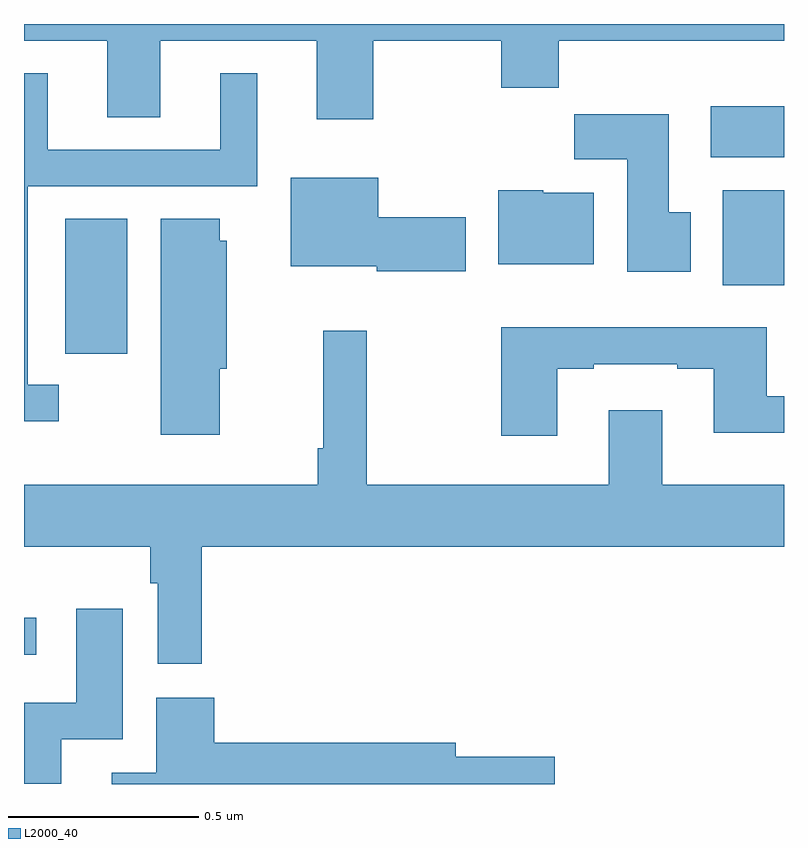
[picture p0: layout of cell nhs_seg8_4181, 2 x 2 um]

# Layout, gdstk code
import gdstk
lib = gdstk.Library(unit=1e-6, precision=1e-09)
def R(c, l, rs):  # rectangles x0, y0, x1, y1
    for r in rs: c.add(gdstk.rectangle(r[:2], r[2:], *l))
def P(c, l, *ps):  # polygons
    for p in ps: c.add(gdstk.Polygon(p, *l))
L2000_40 = (2000, 40)

nhs_seg8_4181 = lib.new_cell('nhs_seg8_4181')
R(nhs_seg8_4181, L2000_40, [(167,1092.24,167.032,1092.338), (167.108,1093.032,167.272,1093.388), (168.839,1093.212,169,1093.462), (168.807,1093.55,169,1093.684)])
P(nhs_seg8_4181, L2000_40, [(167.919,1093.856),(168.256,1093.856),(168.256,1093.732),(168.407,1093.732),(168.407,1093.856),(169,1093.856),(169,1093.9),(167,1093.9),(167,1093.856),(167.219,1093.856),(167.219,1093.654),(167.359,1093.654),(167.359,1093.856),(167.771,1093.856),(167.771,1093.65),(167.919,1093.65)],
  [(167.092,1092.951),(167.01,1092.951),(167.01,1093.473),(167.614,1093.473),(167.614,1093.771),(167.516,1093.771),(167.516,1093.569),(167.062,1093.569),(167.062,1093.771),(167,1093.771),(167,1092.854),(167.092,1092.854)],
  [(168.754,1093.404),(168.697,1093.404),(168.697,1093.663),(168.448,1093.663),(168.448,1093.544),(168.587,1093.544),(168.587,1093.248),(168.754,1093.248)],
  [(168.163,1093.392),(167.932,1093.392),(167.932,1093.495),(167.702,1093.495),(167.702,1093.262),(167.928,1093.262),(167.928,1093.25),(168.163,1093.25)],
  [(168.499,1093.456),(168.366,1093.456),(168.366,1093.462),(168.248,1093.462),(168.248,1093.268),(168.499,1093.268)],
  [(167.515,1092.993),(167.533,1092.993),(167.533,1093.329),(167.515,1093.329),(167.515,1093.388),(167.36,1093.388),(167.36,1092.819),(167.515,1092.819)],
  [(168.403,1092.993),(168.499,1092.993),(168.499,1093.005),(168.719,1093.005),(168.719,1092.993),(168.815,1092.993),(168.815,1092.824),(169,1092.824),(169,1092.921),(168.955,1092.921),(168.955,1093.102),(168.256,1093.102),(168.256,1092.816),(168.403,1092.816)],
  [(167.468,1092.524),(169,1092.524),(169,1092.688),(168.679,1092.688),(168.679,1092.883),(168.539,1092.883),(168.539,1092.688),(167.902,1092.688),(167.902,1093.093),(167.788,1093.093),(167.788,1092.784),(167.773,1092.784),(167.773,1092.688),(167,1092.688),(167,1092.524),(167.332,1092.524),(167.332,1092.428),(167.352,1092.428),(167.352,1092.216),(167.468,1092.216)],
  [(167.098,1092.018),(167.26,1092.018),(167.26,1092.361),(167.138,1092.361),(167.138,1092.114),(167,1092.114),(167,1091.901),(167.098,1091.901)],
  [(168.397,1091.972),(168.136,1091.972),(168.136,1092.008),(167.501,1092.008),(167.501,1092.127),(167.348,1092.127),(167.348,1091.929),(167.231,1091.929),(167.231,1091.9),(168.397,1091.9)])

lib.write_gds('nhs_seg8_4181.gds')
